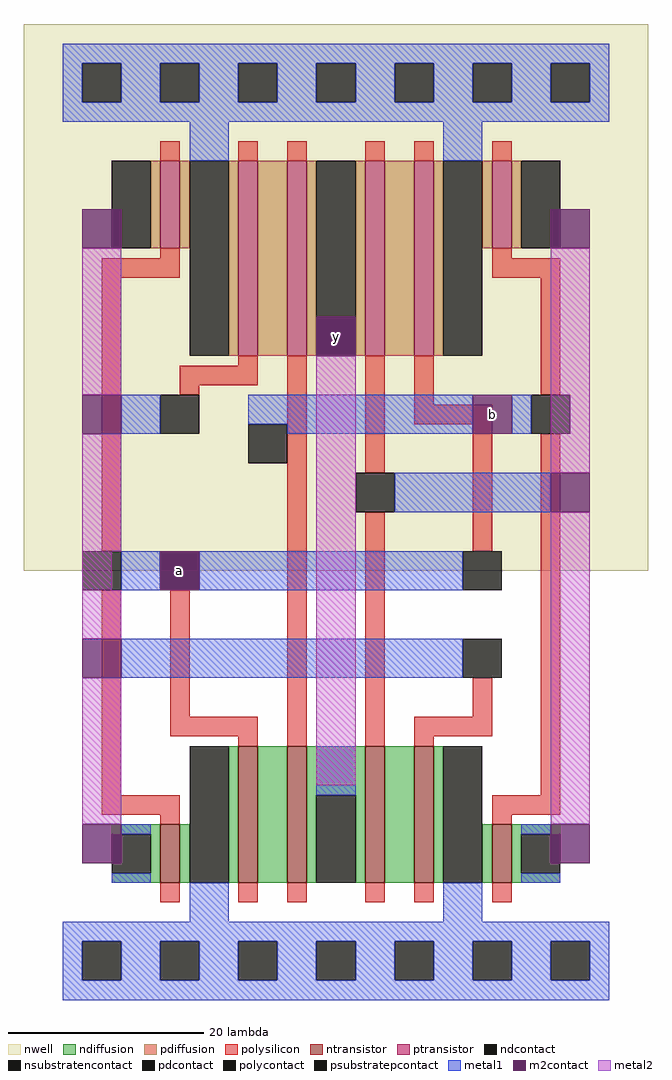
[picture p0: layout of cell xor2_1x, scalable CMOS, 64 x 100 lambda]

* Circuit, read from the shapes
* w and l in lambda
.subckt xor2_1x a b y
M1 VSUBS a n1 VSUBS nfet w=6 l=2
M2 n2 a VSUBS VSUBS nfet w=14 l=2
M3 n3 b n2 VSUBS nfet w=14 l=2
M4 n4 n5 n3 VSUBS nfet w=14 l=2
M5 VSUBS n1 n4 VSUBS nfet w=14 l=2
M6 n5 b VSUBS VSUBS nfet w=6 l=2
M7 n6 a n1 n6 pfet w=9 l=2
M8 n7 n1 n6 n6 pfet w=20 l=2
M9 y b n7 n6 pfet w=20 l=2
M10 n8 n5 y n6 pfet w=20 l=2
M11 n6 a n8 n6 pfet w=20 l=2
M12 n5 b n6 n6 pfet w=9 l=2
.ends

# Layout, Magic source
magic
tech scmos
<< nwell >>
rect -6 40 58 96
<< ntransistor >>
rect 8 8 10 14
rect 16 8 18 22
rect 21 8 23 22
rect 29 8 31 22
rect 34 8 36 22
rect 42 8 44 14
<< ptransistor >>
rect 8 73 10 82
rect 16 62 18 82
rect 21 62 23 82
rect 29 62 31 82
rect 34 62 36 82
rect 42 73 44 82
<< ndiffusion >>
rect 3 13 8 14
rect 7 9 8 13
rect 3 8 8 9
rect 10 8 11 14
rect 15 8 16 22
rect 18 8 21 22
rect 23 17 29 22
rect 23 8 24 17
rect 28 8 29 17
rect 31 8 34 22
rect 36 8 37 22
rect 41 8 42 14
rect 44 13 49 14
rect 44 9 45 13
rect 44 8 49 9
<< pdiffusion >>
rect 7 73 8 82
rect 10 73 11 82
rect 15 62 16 82
rect 18 62 21 82
rect 23 62 24 82
rect 28 62 29 82
rect 31 62 34 82
rect 36 62 37 82
rect 41 73 42 82
rect 44 73 45 82
<< ndcontact >>
rect 3 9 7 13
rect 11 8 15 22
rect 24 8 28 17
rect 37 8 41 22
rect 45 9 49 13
<< pdcontact >>
rect 3 73 7 82
rect 11 62 15 82
rect 24 62 28 82
rect 37 62 41 82
rect 45 73 49 82
<< psubstratepcontact >>
rect 0 -2 4 2
rect 8 -2 12 2
rect 16 -2 20 2
rect 24 -2 28 2
rect 32 -2 36 2
rect 40 -2 44 2
rect 48 -2 52 2
<< nsubstratencontact >>
rect 0 88 4 92
rect 8 88 12 92
rect 16 88 20 92
rect 24 88 28 92
rect 32 88 36 92
rect 40 88 44 92
rect 48 88 52 92
<< polysilicon >>
rect 8 82 10 84
rect 16 82 18 84
rect 21 82 23 84
rect 29 82 31 84
rect 34 82 36 84
rect 42 82 44 84
rect 8 72 10 73
rect 2 70 10 72
rect 2 42 4 70
rect 42 72 44 73
rect 42 70 49 72
rect 16 61 18 62
rect 10 59 18 61
rect 10 58 12 59
rect 2 17 4 38
rect 9 25 11 38
rect 9 23 18 25
rect 16 22 18 23
rect 21 22 23 62
rect 29 50 31 62
rect 34 57 36 62
rect 47 58 49 70
rect 34 55 42 57
rect 29 22 31 46
rect 40 42 42 55
rect 40 25 42 29
rect 34 23 42 25
rect 34 22 36 23
rect 2 15 10 17
rect 8 14 10 15
rect 47 17 49 54
rect 42 15 49 17
rect 42 14 44 15
rect 8 6 10 8
rect 16 6 18 8
rect 21 6 23 8
rect 29 6 31 8
rect 34 6 36 8
rect 42 6 44 8
<< polycontact >>
rect 8 54 12 58
rect 17 51 21 55
rect 0 38 4 42
rect 8 38 12 42
rect 28 46 32 50
rect 46 54 50 58
rect 39 38 43 42
rect 39 29 43 33
<< metal1 >>
rect -2 92 54 94
rect -2 88 0 92
rect 4 88 8 92
rect 12 88 16 92
rect 20 88 24 92
rect 28 88 32 92
rect 36 88 40 92
rect 44 88 48 92
rect 52 88 54 92
rect -2 86 54 88
rect 11 82 15 86
rect 37 82 41 86
rect 4 54 8 58
rect 17 55 40 58
rect 21 54 40 55
rect 44 54 46 58
rect 32 46 48 50
rect 4 38 8 42
rect 12 38 39 42
rect 4 29 39 33
rect 4 13 7 14
rect 3 8 7 9
rect 24 17 28 22
rect 45 13 48 14
rect 45 8 49 9
rect 11 4 15 8
rect 37 4 41 8
rect -2 2 54 4
rect -2 -2 0 2
rect 4 -2 8 2
rect 12 -2 16 2
rect 20 -2 24 2
rect 28 -2 32 2
rect 36 -2 40 2
rect 44 -2 48 2
rect 52 -2 54 2
rect -2 -4 54 -2
<< m2contact >>
rect 0 73 3 77
rect 3 73 4 77
rect 24 62 28 66
rect 48 73 49 77
rect 49 73 52 77
rect 0 54 4 58
rect 40 54 44 58
rect 48 46 52 50
rect 8 38 12 42
rect 0 29 4 33
rect 0 13 4 14
rect 0 10 3 13
rect 3 10 4 13
rect 48 13 52 14
rect 48 10 49 13
rect 49 10 52 13
<< metal2 >>
rect 0 58 4 73
rect 0 42 4 54
rect 0 38 3 42
rect 0 33 4 38
rect 0 14 4 29
rect 24 18 28 62
rect 48 50 52 73
rect 48 14 52 46
<< labels >>
rlabel m2contact 10 40 10 40 1 a
rlabel m2contact 42 56 42 56 1 b
rlabel m2contact 26 64 26 64 1 y
<< end >>
